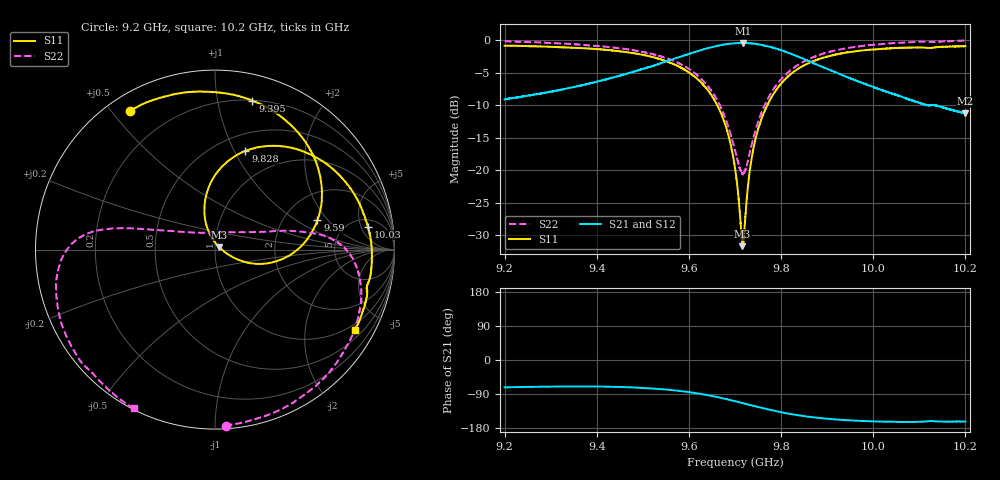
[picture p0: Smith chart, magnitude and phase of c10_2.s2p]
!Agilent Technologies,N5242A,MY51221714,A.09.90.19
!Agilent N5242A: A.09.90.19
!Date: Saturday, March 16, 2024 10:19:49
!Correction: S11(Full 2 Port(1,2))
!S21(Full 2 Port(1,2))
!S12(Full 2 Port(1,2))
!S22(Full 2 Port(1,2))
!S2P File: Measurements: S11, S21, S12, S22:
# Hz S  dB  R 50
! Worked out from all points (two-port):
!   16001 points, 9.2 GHz to 10.2 GHz, reference 50 ohm
!   highest |S21| = -0.42 dB at 9.718 GHz (marker M1); lowest = -11.3 dB at 10.2 GHz (marker M2)
!   |S21| within 3 dB of the highest: 9.544022 GHz to 9.544165 GHz (142.8 kHz wide, 0.0015 % of centre); 9.544 GHz to 9.867 GHz (322.5 MHz wide, 3.32 % of centre)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
!   lowest |S11| = -31.6 dB at 9.716 GHz (marker M3), VSWR 1.05, Z = 52.2 + j1.5 ohm
!   |S11| at or under -10 dB: 9.661 GHz to 9.77 GHz (108.5 MHz wide, 1.12 % of centre)
!   |S22| runs from -20.6 to 0.0 dB; largest |S21 - S12| = 0.013
!   S11 on the Smith chart (normalised r, x): 9.2 GHz: 0.07, +0.56; 9.395 GHz: 0.20, +1.26; 9.59 GHz: 3.07, +1.56; 9.828 GHz: 0.67, +1.11; 10.03 GHz: 6.74, +6.66; 10.2 GHz: 0.77, -3.58
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9.2e9  -0.87 121.7  -9.09 -72.2  -9.08 -72.8  -0.16 -86.6
9.277688e9  -0.97 104.1  -8.20 -70.6  -8.18 -71.1  -0.36 -64.9
9.366688e9  -1.23 83.1  -6.95 -69.9  -6.93 -70.4  -0.72 -41.0
9.395188e9  -1.35 75.9  -6.47 -70.0  -6.45 -70.5  -0.87 -33.6
9.463938e9  -1.84 57.5  -5.18 -71.8  -5.19 -72.2  -1.39 -17.2
9.533375e9  -2.84 36.3  -3.69 -76.2  -3.67 -76.7  -2.37 -2.8
9.589875e9  -4.52 16.0  -2.36 -83.2  -2.34 -83.7  -3.99 6.3
9.661625e9  -10.02 -13.5  -0.87 -98.0  -0.87 -98.4  -9.25 17.4
9.684062e9  -14.22 -21.9  -0.58 -104.1  -0.58 -104.6  -13.02 25.9
9.7e9  -19.58 -22.8  -0.47 -108.7  -0.45 -109.3  -16.93 42.8
9.716062e9  -31.64 33.2  -0.44 -113.6  -0.42 -114.2  -20.51 86.8
9.718e9  -31.19 58.0  -0.42 -114.2  -0.42 -114.8  -20.46 94.3
9.733938e9  -19.13 109.4  -0.49 -119.1  -0.47 -119.7  -16.74 139.6
9.75225e9  -13.19 105.5  -0.67 -124.6  -0.65 -125.3  -12.12 155.6
9.784562e9  -8.15 92.2  -1.19 -133.8  -1.21 -134.5  -7.42 164.3
9.828438e9  -4.81 72.9  -2.30 -144.1  -2.30 -144.6  -4.19 169.3
9.866688e9  -3.32 57.6  -3.42 -150.9  -3.42 -151.4  -2.72 173.6
9.945688e9  -1.86 31.1  -5.74 -159.2  -5.76 -159.6  -1.21 -174.3
1.002812e10  -1.30 8.5  -7.91 -162.7  -7.91 -163.3  -0.55 -157.7
1.003338e10  -1.28 7.2  -8.03 -162.9  -8.03 -163.4  -0.51 -156.5
1.011169e10  -1.15 -11.7  -9.89 -162.4  -9.89 -162.9  -0.23 -139.0
1.02e10  -0.93 -30.0  -11.25 -162.4  -11.24 -162.9  -0.05 -117.1
